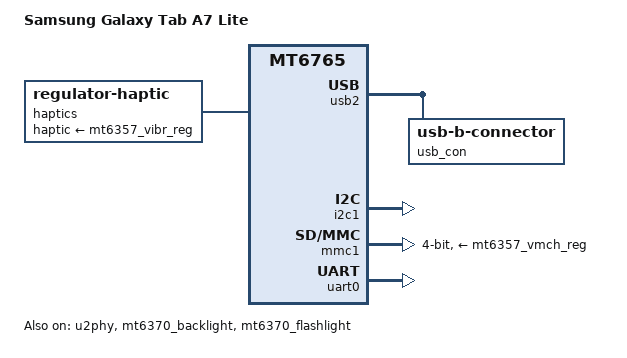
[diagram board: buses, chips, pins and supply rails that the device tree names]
// SPDX-License-Identifier: (GPL-2.0 OR MIT)
/*
 * Device Tree Source for Samsung Galaxy Tab A7 Lite (gta7litewifi)
 *
 * Copyright (c) 2023 Brandon Boese <brandonboese@protonmail.com>
 */

/dts-v1/;

#include "mt6765.dtsi"
#include "mt6765-bl-quirks.dtsi"
#include "mt6357.dtsi"
#include "mt6370.dtsi"

/ {
    model = "Samsung Galaxy Tab A7 Lite";
    compatible = "samsung,gta7litewifi", "mediatek,mt8768", "mediatek,mt6765";

    haptics {
        compatible = "regulator-haptic";
        haptic-supply = <&mt6357_vibr_reg>;
        max-microvolt = <3000000>;
        min-microvolt = <3000000>;
    };

    /* The following are required by stock bootloader to merge with minimal DTBO */
    gpio@10005000 {
        linux,phandle = <0xdead>;
        phandle = <0xdead>;
    };
    __symbols__ {
        gpio = "/gpio@10005000";
    };
};

&pwrap {
    status = "okay";
};

&usb2 {
    status = "okay";

    usb_con: connector {
        compatible = "usb-b-connector";
        type = "micro";
    };
};

&u2phy {
    status = "okay";
};

&i2c1 {
    status = "okay";
};

&mt6370_backlight {
    status = "okay";

    max-brightness = <1024>;
    default-brightness = <1024>;
};


&mt6370_flashlight {
    status = "okay";
};

&mmc0 {
    status = "disabled"; // Broken for now

    vmmc-supply = <&mt6357_vemc_reg>;
    vqmmc-supply = <&mt6357_vio18_reg>;

    bus-width = <8>;
    max-frequency = <200000000>;
    non-removable;
    cap-mmc-hw-reset;
    cap-mmc-highspeed;
    //mmc-ddr-1_8v;
    //mmc-hs200-1_8v;
    //mmc-hs400-1_8v;
};

&mmc1 {
    status = "okay";

    vmmc-supply = <&mt6357_vmch_reg>;
    vqmmc-supply = <&mt6357_vmc_reg>;

    bus-width = <4>;
    max-frequency = <20000000>;
    cap-sd-highspeed;
    sd-uhs-sdr12;
    sd-uhs-sdr25;
    sd-uhs-sdr50;
    sd-uhs-sdr104;
    sd-uhs-ddr50;
};

&uart0 {
    status = "okay";
};
